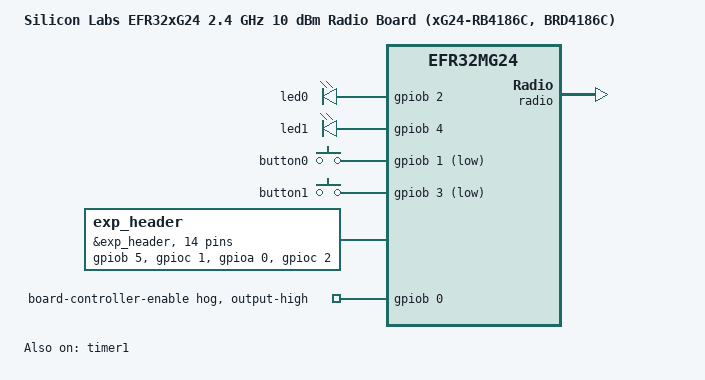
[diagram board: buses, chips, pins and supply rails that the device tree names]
/*
 * Copyright (c) 2025 Silicon Laboratories Inc.
 *
 * SPDX-License-Identifier: Apache-2.0
 */

/dts-v1/;
#include <silabs/xg24/efr32mg24b210f1536im48.dtsi>
#include "xg24_common.dtsi"
#include "xg24_rb4186c-pinctrl.dtsi"

/ {
	model = "Silicon Labs EFR32xG24 2.4 GHz 10 dBm Radio Board (xG24-RB4186C, BRD4186C)";
	compatible = "silabs,xg24_rb4186c", "silabs,efr32mg24";
};

&led0 {
	gpios = <&gpiob 2 GPIO_ACTIVE_HIGH>;
};

&led1 {
	gpios = <&gpiob 4 GPIO_ACTIVE_HIGH>;
};

&pwm_led0 {
	pwms = <&timer0_pwm 0 PWM_MSEC(20) PWM_POLARITY_NORMAL>;
};

&pwm_led1 {
	pwms = <&timer0_pwm 1 PWM_MSEC(20) PWM_POLARITY_NORMAL>;
};

&button0 {
	gpios = <&gpiob 1 GPIO_ACTIVE_LOW>;
};

&button1 {
	gpios = <&gpiob 3 GPIO_ACTIVE_LOW>;
};

&sensor_enable {
	enable-gpios = <&gpiod 3 GPIO_ACTIVE_HIGH>;
};

&exp_header {
	gpio-map = <3 0 &gpiob 5 0>,
		   <4 0 &gpioc 1 0>,
		   <5 0 &gpioa 0 0>,
		   <6 0 &gpioc 2 0>,
		   <7 0 &gpioa 5 0>,
		   <8 0 &gpioc 3 0>,
		   <9 0 &gpiod 2 0>,
		   <10 0 &gpioc 0 0>,
		   <11 0 &gpioa 6 0>,
		   <12 0 &gpioa 8 0>,
		   <13 0 &gpioa 7 0>,
		   <14 0 &gpioa 9 0>,
		   <15 0 &gpioc 5 0>,
		   <16 0 &gpioc 7 0>;
};

&hfxo {
	ctune = <95>;
	precision = <50>;
};

&lfxo {
	ctune = <44>;
};

&eusart1 {
	cs-gpios = <&gpioc 8 GPIO_ACTIVE_HIGH>, <&gpioc 4 GPIO_ACTIVE_LOW>;
};

&ls0xx_ls013b7dh03 {
	disp-en-gpios = <&gpioc 9 GPIO_ACTIVE_HIGH>;
	extcomin-gpios = <&gpioc 6 GPIO_ACTIVE_HIGH>;
};

&timer1 {
	status = "okay";

	timer1_counter: counter {
		status = "okay";
	};
};

&gpiob {
	board-controller-enable {
		gpio-hog;
		gpios = <0 GPIO_ACTIVE_HIGH>;
		output-high;
	};
};

&dcdc {
	silabs,pfmx-peak-current-milliamp = <120>;
};

&radio {
	pa-voltage-mv = <1800>;
};
